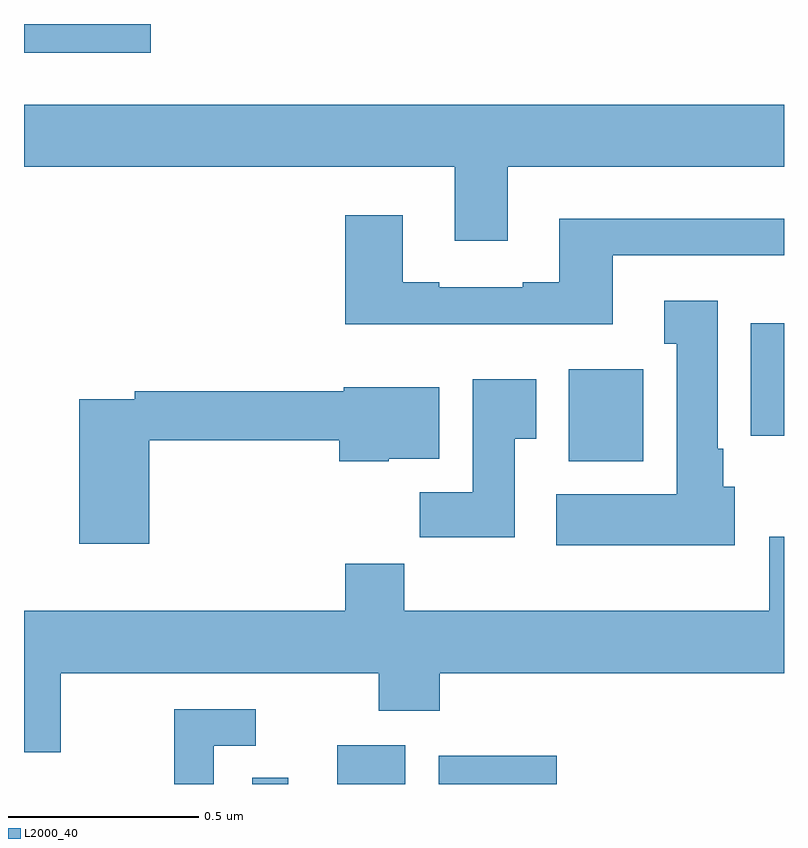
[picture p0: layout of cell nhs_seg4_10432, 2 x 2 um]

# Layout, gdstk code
import gdstk
lib = gdstk.Library(unit=1e-6, precision=1e-09)
def R(c, l, rs):  # rectangles x0, y0, x1, y1
    for r in rs: c.add(gdstk.rectangle(r[:2], r[2:], *l))
def P(c, l, *ps):  # polygons
    for p in ps: c.add(gdstk.Polygon(p, *l))
L2000_40 = (2000, 40)

nhs_seg4_10432 = lib.new_cell('nhs_seg4_10432')
R(nhs_seg4_10432, L2000_40, [(240.6,757.9,240.696,757.916), (240.824,757.9,241.003,758.002), (241.092,757.9,241.402,757.974), (241.433,758.75,241.63,758.992), (241.913,758.816,242,759.112), (240,759.824,240.334,759.9)])
P(nhs_seg4_10432, L2000_40, [(241.273,759.524),(242,759.524),(242,759.688),(240,759.688),(240,759.524),(241.133,759.524),(241.133,759.33),(241.273,759.33)],
  [(241.549,759.291),(242,759.291),(242,759.388),(241.409,759.388),(241.409,759.22),(241.313,759.22),(241.313,759.207),(241.093,759.207),(241.093,759.22),(240.997,759.22),(240.997,759.397),(240.845,759.397),(240.845,759.11),(241.549,759.11)],
  [(241.87,758.682),(241.84,758.682),(241.84,758.782),(241.825,758.782),(241.825,759.172),(241.685,759.172),(241.685,759.059),(241.718,759.059),(241.718,758.662),(241.401,758.662),(241.401,758.528),(241.87,758.528)],
  [(241.291,758.809),(241.348,758.809),(241.348,758.965),(241.181,758.965),(241.181,758.668),(241.042,758.668),(241.042,758.55),(241.291,758.55)],
  [(240.329,758.805),(240.83,758.805),(240.83,758.75),(240.96,758.75),(240.96,758.756),(241.093,758.756),(241.093,758.944),(240.842,758.944),(240.842,758.933),(240.292,758.933),(240.292,758.913),(240.146,758.913),(240.146,758.532),(240.329,758.532)],
  [(240.097,758.192),(240.934,758.192),(240.934,758.093),(241.094,758.093),(241.094,758.192),(242,758.192),(242,758.551),(241.961,758.551),(241.961,758.356),(241.001,758.356),(241.001,758.48),(240.845,758.48),(240.845,758.356),(240,758.356),(240,757.984),(240.097,757.984)],
  [(240.499,758.001),(240.61,758.001),(240.61,758.097),(240.395,758.097),(240.395,757.9),(240.499,757.9)])

lib.write_gds('nhs_seg4_10432.gds')
